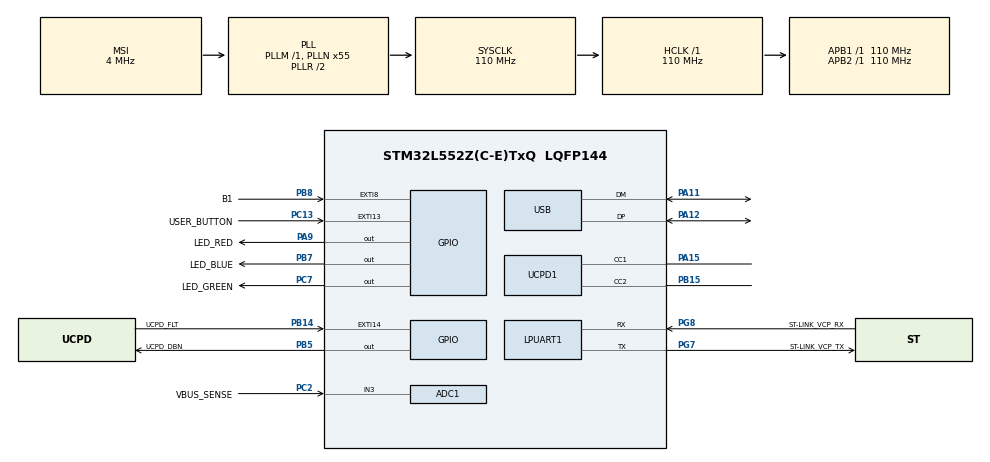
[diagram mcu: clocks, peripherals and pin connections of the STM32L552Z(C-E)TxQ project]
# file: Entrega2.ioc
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ADC1.Channel-0\#ChannelRegularConversion=ADC_CHANNEL_3
ADC1.NbrOfConversionFlag=1
ADC1.OffsetNumber-0\#ChannelRegularConversion=ADC_OFFSET_NONE
ADC1.Rank-0\#ChannelRegularConversion=1
ADC1.SamplingTime-0\#ChannelRegularConversion=ADC_SAMPLETIME_2CYCLES_5
ADC1.master=1
Mcu.Family=STM32L5
Mcu.Name=STM32L552Z(C-E)TxQ
Mcu.Package=LQFP144
Mcu.TrustZone=disable
NVIC.EXTI13_IRQn=true\:0\:0\:false\:false\:true\:true\:true\:true
NVIC.EXTI8_IRQn=true\:0\:0\:false\:false\:true\:true\:true\:true
NVIC.PriorityGroup=NVIC_PRIORITYGROUP_3
PA11.Mode=Device
PA11.Signal=USB_DM
PA12.Mode=Device
PA12.Signal=USB_DP
PA13\ (JTMS/SWDIO).Mode=Trace_Asynchronous_SW
PA13\ (JTMS/SWDIO).Signal=DEBUG_JTMS-SWDIO
PA14\ (JTCK/SWCLK).Mode=Trace_Asynchronous_SW
PA14\ (JTCK/SWCLK).Signal=DEBUG_JTCK-SWCLK
PA15\ (JTDI).Mode=Source_AllSignals
PA15\ (JTDI).Signal=UCPD1_CC1
PA9.GPIO_Label=LED_RED
PA9.Signal=GPIO_Output
PB14.GPIO_Label=UCPD_FLT
PB14.Signal=GPXTI14
PB15.Mode=Source_AllSignals
PB15.Signal=UCPD1_CC2
PB3\ (JTDO/TRACESWO).Mode=Trace_Asynchronous_SW
PB3\ (JTDO/TRACESWO).Signal=DEBUG_JTDO-SWO
PB5.GPIO_Label=UCPD_DBN
PB5.Signal=GPIO_Output
PB7.GPIO_Label=LED_BLUE
PB7.Signal=GPIO_Output
PB8.GPIO_Label=B1
PB8.GPIO_PuPd=GPIO_PULLDOWN
PB8.Signal=GPXTI8
PC13.GPIO_Label=USER_BUTTON
PC13.Signal=GPXTI13
PC14-OSC32_IN\ (PC14).Mode=LSE-External-Oscillator
PC14-OSC32_IN\ (PC14).Signal=RCC_OSC32_IN
PC15-OSC32_OUT\ (PC15).Mode=LSE-External-Oscillator
PC15-OSC32_OUT\ (PC15).Signal=RCC_OSC32_OUT
PC2.GPIO_Label=VBUS_SENSE
PC2.Signal=ADCx_IN3
PC7.GPIO_Label=LED_GREEN
PC7.Signal=GPIO_Output
PG7.GPIO_Label=ST-LINK_VCP_TX
PG7.Mode=Asynchronous
PG7.Signal=LPUART1_TX
PG8.GPIO_Label=ST-LINK_VCP_RX
PG8.Mode=Asynchronous
PG8.Signal=LPUART1_RX
ProjectManager.HeapSize=0x200
ProjectManager.StackSize=0x400
ProjectManager.TargetToolchain=STM32CubeIDE
RCC.ADCCLockSelection=RCC_ADCCLKSOURCE_SYSCLK
RCC.ADCFreq_Value=110000000
RCC.AHBFreq_Value=110000000
RCC.APB1Freq_Value=110000000
RCC.APB1TimFreq_Value=110000000
RCC.APB2Freq_Value=110000000
RCC.APB2TimFreq_Value=110000000
RCC.CK48CLockSelection=RCC_USBCLKSOURCE_HSI48
RCC.CortexFreq_Value=110000000
RCC.HCLKFreq_Value=110000000
RCC.HSE_VALUE=8000000
RCC.HSI48_VALUE=48000000
RCC.HSI_VALUE=16000000
RCC.MSI_VALUE=4000000
RCC.PLLN=55
RCC.PLLSAI1N=24
RCC.RTCClockSelection=RCC_RTCCLKSOURCE_LSE
RCC.SYSCLKFreq_VALUE=110000000
RCC.SYSCLKSource=RCC_SYSCLKSOURCE_PLLCLK
RCC.USBFreq_Value=48000000
RCC.VCOOutputFreq_Value=220000000
SH.ADCx_IN3.0=ADC1_IN3,IN3-Single-Ended
VP_ICACHE_VS_ICACHE.Mode=DirectMappedCache
VP_PWR_VS_DBSignals.Mode=DisableDeadBatterySignals
VP_RTC_VS_RTC_Activate.Mode=RTC_Enabled
board=NUCLEO-L552ZE-Q

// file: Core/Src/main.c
/* USER CODE BEGIN Header */
/**
 ******************************************************************************
 * @file           : main.c
 * @brief          : Main program body
 ******************************************************************************
 * @attention
 *
 * Copyright (c) 2024 STMicroelectronics.
 * All rights reserved.
 *
 * This software is licensed under terms that can be found in the LICENSE file
 * in the root directory of this software component.
 * If no LICENSE file comes with this software, it is provided AS-IS.
 *
 ******************************************************************************
 */
/* USER CODE END Header */
#include "main.h"

ADC_HandleTypeDef hadc1;

UART_HandleTypeDef hlpuart1;

RTC_HandleTypeDef hrtc;

PCD_HandleTypeDef hpcd_USB_FS;

/* USER CODE BEGIN PV */
uint8_t interrupcion1 = 0;
uint8_t interrupcion2 = 0;
int pulso = 0;
int estado_actual = 0;
int estado_anterior = 0;
int B0=0;
int B1=0;
/* USER CODE END PV */

void SystemClock_Config(void);
static void MX_GPIO_Init(void);
static void MX_ADC1_Init(void);
static void MX_ICACHE_Init(void);
static void MX_LPUART1_UART_Init(void);
static void MX_RTC_Init(void);
static void MX_UCPD1_Init(void);
static void MX_USB_PCD_Init(void);

int main(void)
{

  /* MCU Configuration--------------------------------------------------------*/

  /* Reset of all peripherals, Initializes the Flash interface and the Systick. */
  HAL_Init();

  /* Configure the system clock */
  SystemClock_Config();

  /* Initialize all configured peripherals */
  MX_GPIO_Init();
  MX_ADC1_Init();
  MX_ICACHE_Init();
  MX_LPUART1_UART_Init();
  MX_RTC_Init();
  MX_UCPD1_Init();
  MX_USB_PCD_Init();
  /* USER CODE BEGIN 2 */
	int estados (int state, int B0 , int B1){
		//int state = 0;
		//while (state < 4)
		{
			switch (state)
			{
			case 0:
				// Do State 0 Stuff
				if (!B0 && B1)
				{
					state++;
				}
				else if (B0 && !B1){
					state += 3;
				}
				break;
			case 1:
				// Do State 1 Stuff
				if (B0 && !B1)
				{
					state--;
				}
				else if (!B0 && B1)
				{
					state++;
				}
				break;
			case 2:
				// Do State 2 Stuff
				if (B0 && !B1)
				{
					state -= 1;
				}
				else if (!B0 && B1)
				{
					state++;
				}
				break;
			case 3:
				// Do State 2 Stuff
				if (B0 && !B1)
				{
					state -= 1;
				}
				else if (!B0 && B1)
				{
					state -= 3;
				}
				break;
			default:
				break;
			}
		}
		return state;
	}
  /* USER CODE END 2 */

  /* Infinite loop */
  /* USER CODE BEGIN WHILE */

	//EXTI4_15_IRQHandler_Config();

	while (1)
	{

		B0=0, B1=0;
		if (interrupcion1 == 1){
			B0=1;
		}

		if (interrupcion2 == 1){
			B1=1;
		}

		interrupcion1 = 0;
			interrupcion2 = 0;

	estado_actual = estados(estado_actual, B0, B1);
	if(estado_anterior!=estado_actual){
		switch(estado_actual){
		case 0:
			HAL_GPIO_WritePin(LED_GREEN_GPIO_Port, LED_GREEN_Pin, GPIO_PIN_SET);
			HAL_GPIO_WritePin(LED_BLUE_GPIO_Port, LED_BLUE_Pin, GPIO_PIN_RESET);
			printf("Estado 0\r\n");
			break;
		case 1:
			HAL_GPIO_WritePin(LED_GREEN_GPIO_Port, LED_GREEN_Pin, GPIO_PIN_RESET);
			HAL_GPIO_WritePin(LED_BLUE_GPIO_Port, LED_BLUE_Pin, GPIO_PIN_SET);
			printf("Estado 1\r\n");

			break;
		case 2:
			HAL_GPIO_WritePin(LED_GREEN_GPIO_Port, LED_GREEN_Pin, GPIO_PIN_SET);
			HAL_GPIO_WritePin(LED_BLUE_GPIO_Port, LED_BLUE_Pin, GPIO_PIN_SET);
			printf("Estado 2\r\n");

			break;
		case 3:
			HAL_GPIO_WritePin(LED_GREEN_GPIO_Port, LED_GREEN_Pin, GPIO_PIN_RESET);
			HAL_GPIO_WritePin(LED_BLUE_GPIO_Port, LED_BLUE_Pin, GPIO_PIN_RESET);
			printf("Estado 3\r\n");

			break;
		default: break;
		}
	}

	estado_anterior = estado_actual;
	}
    /* USER CODE END WHILE */

}

void SystemClock_Config(void)
{
  RCC_OscInitTypeDef RCC_OscInitStruct = {0};
  RCC_ClkInitTypeDef RCC_ClkInitStruct = {0};

  /** Configure the main internal regulator output voltage
  */
  if (HAL_PWREx_ControlVoltageScaling(PWR_REGULATOR_VOLTAGE_SCALE0) != HAL_OK)
  {
    Error_Handler();
  }

  /** Configure LSE Drive Capability
  */
  HAL_PWR_EnableBkUpAccess();
  __HAL_RCC_LSEDRIVE_CONFIG(RCC_LSEDRIVE_LOW);

  /** Initializes the RCC Oscillators according to the specified parameters
  * in the RCC_OscInitTypeDef structure.
  */
  RCC_OscInitStruct.OscillatorType = RCC_OSCILLATORTYPE_HSI48|RCC_OSCILLATORTYPE_LSE
                              |RCC_OSCILLATORTYPE_MSI;
  RCC_OscInitStruct.LSEState = RCC_LSE_ON;
  RCC_OscInitStruct.HSI48State = RCC_HSI48_ON;
  RCC_OscInitStruct.MSIState = RCC_MSI_ON;
  RCC_OscInitStruct.MSICalibrationValue = RCC_MSICALIBRATION_DEFAULT;
  RCC_OscInitStruct.MSIClockRange = RCC_MSIRANGE_6;
  RCC_OscInitStruct.PLL.PLLState = RCC_PLL_ON;
  RCC_OscInitStruct.PLL.PLLSource = RCC_PLLSOURCE_MSI;
  RCC_OscInitStruct.PLL.PLLM = 1;
  RCC_OscInitStruct.PLL.PLLN = 55;
  RCC_OscInitStruct.PLL.PLLP = RCC_PLLP_DIV7;
  RCC_OscInitStruct.PLL.PLLQ = RCC_PLLQ_DIV2;
  RCC_OscInitStruct.PLL.PLLR = RCC_PLLR_DIV2;
  if (HAL_RCC_OscConfig(&RCC_OscInitStruct) != HAL_OK)
  {
    Error_Handler();
  }

  /** Initializes the CPU, AHB and APB buses clocks
  */
  RCC_ClkInitStruct.ClockType = RCC_CLOCKTYPE_HCLK|RCC_CLOCKTYPE_SYSCLK
                              |RCC_CLOCKTYPE_PCLK1|RCC_CLOCKTYPE_PCLK2;
  RCC_ClkInitStruct.SYSCLKSource = RCC_SYSCLKSOURCE_PLLCLK;
  RCC_ClkInitStruct.AHBCLKDivider = RCC_SYSCLK_DIV1;
  RCC_ClkInitStruct.APB1CLKDivider = RCC_HCLK_DIV1;
  RCC_ClkInitStruct.APB2CLKDivider = RCC_HCLK_DIV1;

  if (HAL_RCC_ClockConfig(&RCC_ClkInitStruct, FLASH_LATENCY_5) != HAL_OK)
  {
    Error_Handler();
  }
}

static void MX_ADC1_Init(void)
{

  ADC_MultiModeTypeDef multimode = {0};
  ADC_ChannelConfTypeDef sConfig = {0};

  /** Common config
  */
  hadc1.Instance = ADC1;
  hadc1.Init.ClockPrescaler = ADC_CLOCK_ASYNC_DIV1;
  hadc1.Init.Resolution = ADC_RESOLUTION_12B;
  hadc1.Init.DataAlign = ADC_DATAALIGN_RIGHT;
  hadc1.Init.ScanConvMode = ADC_SCAN_DISABLE;
  hadc1.Init.EOCSelection = ADC_EOC_SINGLE_CONV;
  hadc1.Init.LowPowerAutoWait = DISABLE;
  hadc1.Init.ContinuousConvMode = DISABLE;
  hadc1.Init.NbrOfConversion = 1;
  hadc1.Init.DiscontinuousConvMode = DISABLE;
  hadc1.Init.ExternalTrigConv = ADC_SOFTWARE_START;
  hadc1.Init.ExternalTrigConvEdge = ADC_EXTERNALTRIGCONVEDGE_NONE;
  hadc1.Init.DMAContinuousRequests = DISABLE;
  hadc1.Init.Overrun = ADC_OVR_DATA_PRESERVED;
  hadc1.Init.OversamplingMode = DISABLE;
  if (HAL_ADC_Init(&hadc1) != HAL_OK)
  {
    Error_Handler();
  }

  /** Configure the ADC multi-mode
  */
  multimode.Mode = ADC_MODE_INDEPENDENT;
  if (HAL_ADCEx_MultiModeConfigChannel(&hadc1, &multimode) != HAL_OK)
  {
    Error_Handler();
  }

  /** Configure Regular Channel
  */
  sConfig.Channel = ADC_CHANNEL_3;
  sConfig.Rank = ADC_REGULAR_RANK_1;
  sConfig.SamplingTime = ADC_SAMPLETIME_2CYCLES_5;
  sConfig.SingleDiff = ADC_SINGLE_ENDED;
  sConfig.OffsetNumber = ADC_OFFSET_NONE;
  sConfig.Offset = 0;
  if (HAL_ADC_ConfigChannel(&hadc1, &sConfig) != HAL_OK)
  {
    Error_Handler();
  }

}

static void MX_ICACHE_Init(void)
{

  /** Enable instruction cache in 1-way (direct mapped cache)
  */
  if (HAL_ICACHE_ConfigAssociativityMode(ICACHE_1WAY) != HAL_OK)
  {
    Error_Handler();
  }
  if (HAL_ICACHE_Enable() != HAL_OK)
  {
    Error_Handler();
  }

}

static void MX_LPUART1_UART_Init(void)
{

  hlpuart1.Instance = LPUART1;
  hlpuart1.Init.BaudRate = 209700;
  hlpuart1.Init.WordLength = UART_WORDLENGTH_8B;
  hlpuart1.Init.StopBits = UART_STOPBITS_1;
  hlpuart1.Init.Parity = UART_PARITY_NONE;
  hlpuart1.Init.Mode = UART_MODE_TX_RX;
  hlpuart1.Init.HwFlowCtl = UART_HWCONTROL_NONE;
  hlpuart1.Init.OneBitSampling = UART_ONE_BIT_SAMPLE_DISABLE;
  hlpuart1.Init.ClockPrescaler = UART_PRESCALER_DIV1;
  hlpuart1.AdvancedInit.AdvFeatureInit = UART_ADVFEATURE_NO_INIT;
  hlpuart1.FifoMode = UART_FIFOMODE_DISABLE;
  if (HAL_UART_Init(&hlpuart1) != HAL_OK)
  {
    Error_Handler();
  }
  if (HAL_UARTEx_SetTxFifoThreshold(&hlpuart1, UART_TXFIFO_THRESHOLD_1_8) != HAL_OK)
  {
    Error_Handler();
  }
  if (HAL_UARTEx_SetRxFifoThreshold(&hlpuart1, UART_RXFIFO_THRESHOLD_1_8) != HAL_OK)
  {
    Error_Handler();
  }
  if (HAL_UARTEx_DisableFifoMode(&hlpuart1) != HAL_OK)
  {
    Error_Handler();
  }

}

static void MX_RTC_Init(void)
{

  RTC_PrivilegeStateTypeDef privilegeState = {0};

  /** Initialize RTC Only
  */
  hrtc.Instance = RTC;
  hrtc.Init.HourFormat = RTC_HOURFORMAT_24;
  hrtc.Init.AsynchPrediv = 127;
  hrtc.Init.SynchPrediv = 255;
  hrtc.Init.OutPut = RTC_OUTPUT_DISABLE;
  hrtc.Init.OutPutRemap = RTC_OUTPUT_REMAP_NONE;
  hrtc.Init.OutPutPolarity = RTC_OUTPUT_POLARITY_HIGH;
  hrtc.Init.OutPutType = RTC_OUTPUT_TYPE_OPENDRAIN;
  hrtc.Init.OutPutPullUp = RTC_OUTPUT_PULLUP_NONE;
  if (HAL_RTC_Init(&hrtc) != HAL_OK)
  {
    Error_Handler();
  }
  privilegeState.rtcPrivilegeFull = RTC_PRIVILEGE_FULL_NO;
  privilegeState.backupRegisterPrivZone = RTC_PRIVILEGE_BKUP_ZONE_NONE;
  privilegeState.backupRegisterStartZone2 = RTC_BKP_DR0;
  privilegeState.backupRegisterStartZone3 = RTC_BKP_DR0;
  if (HAL_RTCEx_PrivilegeModeSet(&hrtc, &privilegeState) != HAL_OK)
  {
    Error_Handler();
  }

}

static void MX_UCPD1_Init(void)
{

  LL_GPIO_InitTypeDef GPIO_InitStruct = {0};

  /* Peripheral clock enable */
  LL_APB1_GRP2_EnableClock(LL_APB1_GRP2_PERIPH_UCPD1);

  LL_AHB2_GRP1_EnableClock(LL_AHB2_GRP1_PERIPH_GPIOB);
  LL_AHB2_GRP1_EnableClock(LL_AHB2_GRP1_PERIPH_GPIOA);
  /**UCPD1 GPIO Configuration
  PB15   ------> UCPD1_CC2
  PA15 (JTDI)   ------> UCPD1_CC1
  */
  GPIO_InitStruct.Pin = LL_GPIO_PIN_15;
  GPIO_InitStruct.Mode = LL_GPIO_MODE_ANALOG;
  GPIO_InitStruct.Pull = LL_GPIO_PULL_NO;
  LL_GPIO_Init(GPIOB, &GPIO_InitStruct);

  GPIO_InitStruct.Pin = LL_GPIO_PIN_15;
  GPIO_InitStruct.Mode = LL_GPIO_MODE_ANALOG;
  GPIO_InitStruct.Pull = LL_GPIO_PULL_NO;
  LL_GPIO_Init(GPIOA, &GPIO_InitStruct);

}

static void MX_USB_PCD_Init(void)
{

  hpcd_USB_FS.Instance = USB;
  hpcd_USB_FS.Init.dev_endpoints = 8;
  hpcd_USB_FS.Init.speed = PCD_SPEED_FULL;
  hpcd_USB_FS.Init.phy_itface = PCD_PHY_EMBEDDED;
  hpcd_USB_FS.Init.Sof_enable = DISABLE;
  hpcd_USB_FS.Init.low_power_enable = DISABLE;
  hpcd_USB_FS.Init.lpm_enable = DISABLE;
  hpcd_USB_FS.Init.battery_charging_enable = DISABLE;
  if (HAL_PCD_Init(&hpcd_USB_FS) != HAL_OK)
  {
    Error_Handler();
  }

}

static void MX_GPIO_Init(void)
{
  GPIO_InitTypeDef GPIO_InitStruct = {0};

  /* GPIO Ports Clock Enable */
  __HAL_RCC_GPIOC_CLK_ENABLE();
  __HAL_RCC_GPIOB_CLK_ENABLE();
  __HAL_RCC_GPIOG_CLK_ENABLE();
  HAL_PWREx_EnableVddIO2();
  __HAL_RCC_GPIOA_CLK_ENABLE();

  /*Configure GPIO pin Output Level */
  HAL_GPIO_WritePin(LED_GREEN_GPIO_Port, LED_GREEN_Pin, GPIO_PIN_RESET);

  /*Configure GPIO pin Output Level */
  HAL_GPIO_WritePin(LED_RED_GPIO_Port, LED_RED_Pin, GPIO_PIN_RESET);

  /*Configure GPIO pin Output Level */
  HAL_GPIO_WritePin(GPIOB, UCPD_DBN_Pin|LED_BLUE_Pin, GPIO_PIN_RESET);

  /*Configure GPIO pin : USER_BUTTON_Pin */
  GPIO_InitStruct.Pin = USER_BUTTON_Pin;
  GPIO_InitStruct.Mode = GPIO_MODE_IT_RISING;
  GPIO_InitStruct.Pull = GPIO_NOPULL;
  HAL_GPIO_Init(USER_BUTTON_GPIO_Port, &GPIO_InitStruct);

  /*Configure GPIO pin : UCPD_FLT_Pin */
  GPIO_InitStruct.Pin = UCPD_FLT_Pin;
  GPIO_InitStruct.Mode = GPIO_MODE_IT_RISING;
  GPIO_InitStruct.Pull = GPIO_NOPULL;
  HAL_GPIO_Init(UCPD_FLT_GPIO_Port, &GPIO_InitStruct);

  /*Configure GPIO pin : LED_GREEN_Pin */
  GPIO_InitStruct.Pin = LED_GREEN_Pin;
  GPIO_InitStruct.Mode = GPIO_MODE_OUTPUT_PP;
  GPIO_InitStruct.Pull = GPIO_NOPULL;
  GPIO_InitStruct.Speed = GPIO_SPEED_FREQ_LOW;
  HAL_GPIO_Init(LED_GREEN_GPIO_Port, &GPIO_InitStruct);

  /*Configure GPIO pin : LED_RED_Pin */
  GPIO_InitStruct.Pin = LED_RED_Pin;
  GPIO_InitStruct.Mode = GPIO_MODE_OUTPUT_PP;
  GPIO_InitStruct.Pull = GPIO_NOPULL;
  GPIO_InitStruct.Speed = GPIO_SPEED_FREQ_LOW;
  HAL_GPIO_Init(LED_RED_GPIO_Port, &GPIO_InitStruct);

  /*Configure GPIO pins : UCPD_DBN_Pin LED_BLUE_Pin */
  GPIO_InitStruct.Pin = UCPD_DBN_Pin|LED_BLUE_Pin;
  GPIO_InitStruct.Mode = GPIO_MODE_OUTPUT_PP;
  GPIO_InitStruct.Pull = GPIO_NOPULL;
  GPIO_InitStruct.Speed = GPIO_SPEED_FREQ_LOW;
  HAL_GPIO_Init(GPIOB, &GPIO_InitStruct);

  /*Configure GPIO pin : B1_Pin */
  GPIO_InitStruct.Pin = B1_Pin;
  GPIO_InitStruct.Mode = GPIO_MODE_IT_RISING;
  GPIO_InitStruct.Pull = GPIO_PULLDOWN;
  HAL_GPIO_Init(B1_GPIO_Port, &GPIO_InitStruct);

  /* EXTI interrupt init*/
  HAL_NVIC_SetPriority(EXTI8_IRQn, 0, 0);
  HAL_NVIC_EnableIRQ(EXTI8_IRQn);

  HAL_NVIC_SetPriority(EXTI13_IRQn, 0, 0);
  HAL_NVIC_EnableIRQ(EXTI13_IRQn);

}

/* USER CODE BEGIN 4 */

void HAL_GPIO_EXTI_Rising_Callback(uint16_t GPIO_Pin){
	if (GPIO_Pin == USER_BUTTON_Pin){
		interrupcion1=1;
	}else if(GPIO_Pin == B1_Pin ){
		interrupcion2=1;
	}

}

int _write(int file, char* ptr, int len) {
	int DataIdx;
	for(DataIdx=0;DataIdx< len; DataIdx++) {
		ITM_SendChar(*ptr++);
	}
	return len;
}

/* USER CODE END 4 */

void Error_Handler(void)
{
	__disable_irq();
	while (1)
	{
	}
}
